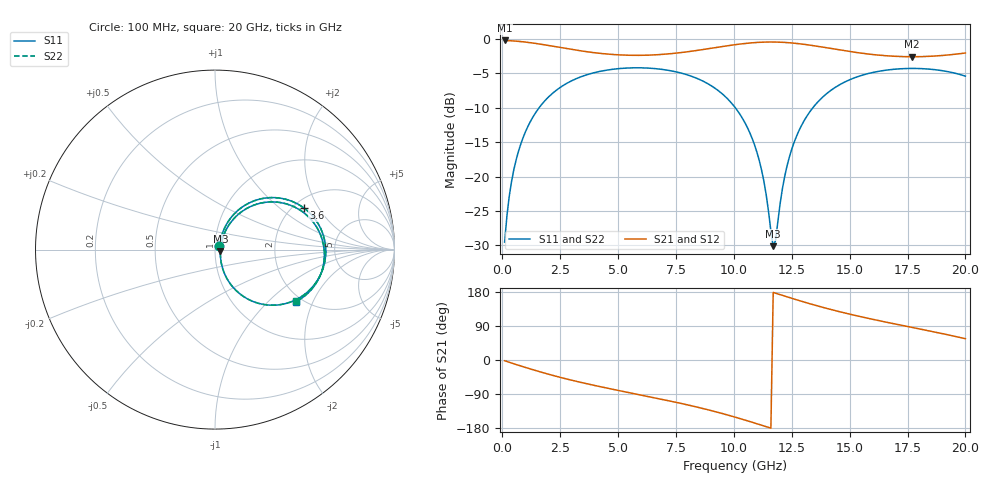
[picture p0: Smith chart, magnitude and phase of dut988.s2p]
! Touchstone file exported from HFSS 2026.1.0
!  File:  C:/ffzhzh/LocalFiles/Ansys_Project_Files/temp_train_TSV_RDL_988_1783287931_39728.aedt
!  Generated:  06:02:05 AM Jul  6, 2026
!  Design:  TSV_RDL
!  Project:  temp_train_TSV_RDL_988_1783287931_39728
! Variables:
!  h_bsmrdl = 5.57um
!  h_ox = 20um
!  h_rdl = 5um
!  h_sub = 62.61um
!  h_tmrdl = 2.83um
!  h_tsv = 62.61um
!  h_via = 3um
!  l_bsmrdl = 922.17um
!  l_sub = 5507.58um
!  l_tmrdl = 551.69um
!  m_sub = 200um
!  pitch = 56um
!  r_tsv = 3.92um
!  s_tmrdl = 10um
!  w_bsmrdl = 16.46um
!  w_sub = 500um
!  w_tmrdl = 28.31um
!  x_tsv_center1 = 565.845um
!  x_tsv_center2 = 1504.475um
!  x_tsv_center3 = 2084.475um
!  x_tsv_center4 = 3023.105um
!  x_tsv_center5 = 3603.105um
!  x_tsv_center6 = 4541.735um
# GHz S MA R 50.000000
! Terminal data exported
! Port[1] = TM_RDL1_1_T1
! Port[2] = TM_RDL5_1_T1
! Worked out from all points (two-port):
!   200 points, 100 MHz to 20 GHz, reference 50 ohm
!   highest |S21| = -0.22 dB at 100 MHz (marker M1); lowest = -2.6 dB at 17.7 GHz (marker M2)
!   |S21| within 3 dB of the highest: start of sweep to end of sweep
!   lowest |S11| = -30.1 dB at 11.7 GHz (marker M3), VSWR 1.06, Z = 53.1 - j0.743 ohm
!   |S11| at or under -10 dB: start of sweep to 1.589 GHz; 10.06 GHz to 13.41 GHz (3.348 GHz wide, 28.5 % of centre)
!   |S22| runs from -30.2 to -4.2 dB; largest |S21 - S12| = 1.7e-14
!   S11 on the Smith chart (normalised r, x): 100 MHz: 1.05, +0.05; 3.6 GHz: 2.26, +1.50; 20 GHz: 1.86, -1.51
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0.1  0.03337 41.4  0.9755 -2.1  0.9755 -2.1  0.03337 41.4
! Gamma 0 0 0 0
! Port Impedance 50 0 50 0
0.3  0.07188 62.8  0.9719 -6.1  0.9719 -6.1  0.07188 62.8
0.5  0.1125 66.0  0.967 -10.0  0.967 -10.0  0.1125 66.0
1.1  0.2303 61.4  0.9451 -21.6  0.9451 -21.6  0.2303 61.4
2.1  0.3934 46.6  0.8909 -39.3  0.8909 -39.3  0.3934 46.6
3.5  0.5389 26.6  0.8146 -60.6  0.8146 -60.6  0.5389 26.6
3.6  0.5459 25.3  0.8101 -62.0  0.8101 -62.0  0.546 25.3
5.2  0.6123 5.4  0.7643 -82.7  0.7643 -82.7  0.6123 5.4
6.8  0.6041 -13.5  0.7704 -102.5  0.7704 -102.5  0.6041 -13.5
8.7  0.4908 -38.0  0.8396 -128.5  0.8396 -128.5  0.4908 -38.0
10.1  0.3105 -58.3  0.9112 -151.5  0.9112 -151.5  0.3105 -58.3
11.1  0.1304 -68.4  0.9457 -170.1  0.9457 -170.1  0.1304 -68.5
11.4  0.07324 -62.8  0.9499 -175.9  0.9499 -175.9  0.07312 -63.0
11.7  0.03122 -12.9  0.9506 178.2  0.9506 178.2  0.03096 -13.0
11.8  0.03436 21.1  0.95 176.3  0.95 176.3  0.03413 21.4
12.1  0.08218 57.1  0.946 170.5  0.946 170.5  0.08209 57.3
12.4  0.1391 60.7  0.9386 164.7  0.9386 164.7  0.1391 60.9
13.4  0.3145 50.1  0.896 146.4  0.896 146.4  0.3145 50.2
14.8  0.4876 30.4  0.8209 123.9  0.8209 123.9  0.4876 30.5
16.7  0.5972 6.6  0.7528 98.3  0.7528 98.3  0.5972 6.6
17.7  0.6109 -5.1  0.7431 85.9  0.7431 85.9  0.6109 -5.0
20  0.5369 -32.6  0.791 56.2  0.791 56.2  0.5369 -32.5
